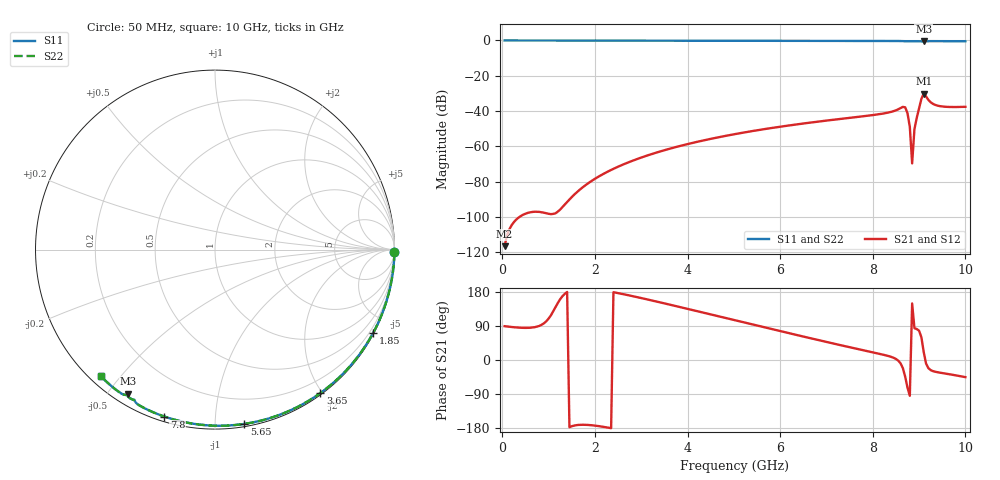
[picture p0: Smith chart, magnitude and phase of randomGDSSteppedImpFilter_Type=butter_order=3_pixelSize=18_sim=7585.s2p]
! freq	dB(S11)	phase(S11)	dB(S12)	phase(S12)
!  dB(S21)	phase(S21)	dB(S22)	phase(S22)
!S-par simulation data
#  GHz  S  DB  R 50
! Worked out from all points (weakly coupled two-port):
!   200 points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, 50 MHz to 10 GHz, reference 50 ohm
!   highest |S21| = -30.16 dB at 9.1 GHz (marker M1); lowest = -116.6 dB at 50 MHz (marker M2)
!   lowest |S11| = -0.6 dB at 9.1 GHz (marker M3), VSWR 30.22, Z = 2.18 - j28.2 ohm
!   |S11| at or under -10 dB: nowhere
!   |S22| runs from -0.6 to 0.0 dB; largest |S21 - S12| = 0
!   S11 on the Smith chart (normalised r, x): 50 MHz: open; 1.85 GHz: 0.04, -4.04; 3.65 GHz: 0.02, -1.98; 5.65 GHz: 0.02, -1.18; 7.8 GHz: 0.02, -0.74; 10 GHz: 0.03, -0.44
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0.05  -0.00 -0.8  -116.55 89.2  -116.55 89.2  -0.00 -0.8
1.75  -0.03 -26.4  -82.92 -170.9  -82.92 -170.9  -0.03 -26.4
1.85  -0.04 -27.8  -80.99 -171.4  -80.99 -171.4  -0.04 -27.8
2.65  -0.05 -39.5  -69.83 172.8  -69.83 172.8  -0.05 -39.5
3.4  -0.07 -50.2  -62.96 152.3  -62.96 152.3  -0.07 -50.2
3.65  -0.07 -53.7  -61.09 145.1  -61.09 145.1  -0.07 -53.7
5.05  -0.11 -72.6  -52.93 104.1  -52.93 104.1  -0.11 -72.6
5.65  -0.13 -80.4  -50.27 86.5  -50.27 86.5  -0.13 -80.4
6.7  -0.18 -93.6  -46.38 56.1  -46.38 56.1  -0.18 -93.6
7.8  -0.25 -106.9  -42.94 25.6  -42.94 25.6  -0.25 -106.9
8.35  -0.29 -113.5  -40.77 10.1  -40.77 10.1  -0.29 -113.5
8.7  -0.42 -118.0  -37.88 -44.2  -37.88 -44.2  -0.40 -118.0
8.75  -0.45 -118.2  -41.23 -73.2  -41.23 -73.2  -0.43 -118.3
8.8  -0.43 -118.6  -49.00 -94.5  -49.00 -94.5  -0.42 -118.6
8.85  -0.41 -119.1  -69.65 149.2  -69.65 149.2  -0.41 -119.2
8.9  -0.41 -119.8  -50.18 83.8  -50.18 83.8  -0.41 -119.9
9.05  -0.56 -121.6  -33.09 60.0  -33.09 60.0  -0.57 -121.7
9.1  -0.58 -121.1  -30.16 21.1  -30.16 21.1  -0.60 -121.1
9.25  -0.39 -123.0  -35.02 -26.7  -35.02 -26.7  -0.39 -122.9
9.35  -0.38 -124.3  -36.52 -31.1  -36.52 -31.1  -0.39 -124.3
9.6  -0.41 -127.3  -37.64 -36.4  -37.64 -36.4  -0.41 -127.3
10  -0.45 -132.0  -37.59 -45.3  -37.59 -45.3  -0.45 -132.0
